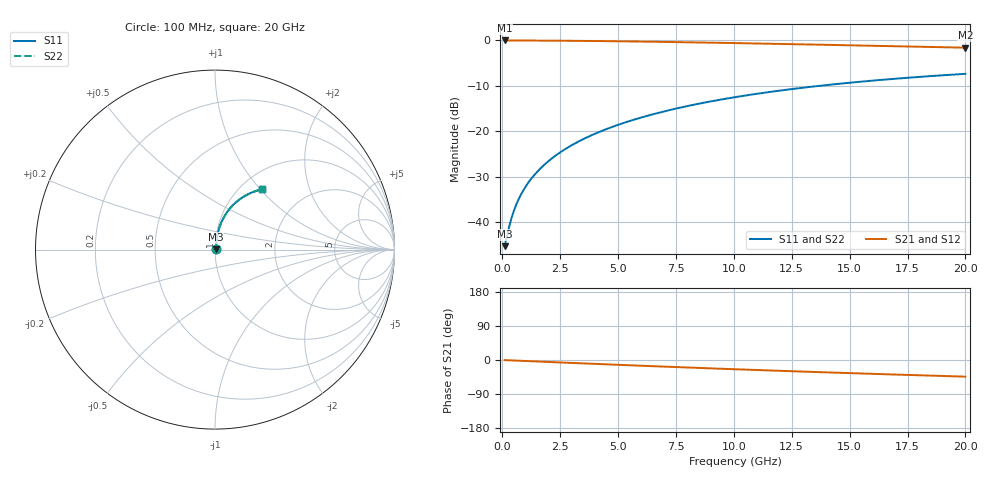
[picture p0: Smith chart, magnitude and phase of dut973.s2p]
! Touchstone file exported from HFSS 2024.1.0
!  File:  C:/UserFiles/LocalFiles/RDL_TSV_Batchsim/temp_RDL_bottom_973_1779943155.aedt
!  Generated:  12:41:56 PM May 28, 2026
!  Design:  RDL_bottom
!  Project:  temp_RDL_bottom_973_1779943155
!  Setup:  Setup1
!  Solution:  Sweep
! Variables:
!  dtsv = 10.80580581um
!  hbump = 3um
!  htsv = 87.55um
!  ldown = 590.75um
!  lrdl = 100um
!  p = 40
!  p1 = 49.2um
!  rhole = 1um
!  t = 450um
!  tdown = 2.42um
!  trdl = 3.915915916um
!  wdown = 18.61um
!  wrdl = 20um
# GHz S MA R 50.000000
! Terminal data exported
! Port[1] = RDL1_T1
! Port[2] = RDL1_T2
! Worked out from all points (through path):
!   200 points, 100 MHz to 20 GHz, reference 50 ohm
!   highest |S21| = -0.04 dB at 100 MHz (marker M1); lowest = -1.6 dB at 20 GHz (marker M2)
!   group delay of S21, straight-line fit = 6.09 ps
!   lowest |S11| = -45.2 dB at 100 MHz (marker M3), VSWR 1.01, Z = 50.5 + j0.254 ohm
!   |S11| at or under -10 dB: start of sweep to 13.72 GHz
!   |S22| runs from -45.2 to -7.4 dB; largest |S21 - S12| = 3.5e-15
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0.1  0.005474 27.3  0.9951 -0.3  0.9951 -0.3  0.005474 27.3
! Gamma 0 0 0 0
! Port Impedance 50 0 50 0
0.3  0.00904 55.4  0.9948 -0.8  0.9948 -0.8  0.00904 55.4
0.4  0.01118 61.6  0.9946 -1.1  0.9946 -1.1  0.01118 61.6
0.5  0.01338 65.7  0.9944 -1.3  0.9944 -1.3  0.01338 65.7
0.6  0.01559 68.6  0.9942 -1.6  0.9942 -1.6  0.01559 68.6
0.7  0.01781 70.7  0.994 -1.9  0.994 -1.9  0.01781 70.7
0.9  0.02227 73.7  0.9935 -2.4  0.9935 -2.4  0.02227 73.7
1.2  0.02899 76.4  0.9928 -3.2  0.9928 -3.2  0.02899 76.4
1.4  0.0335 77.6  0.9923 -3.7  0.9923 -3.7  0.0335 77.6
1.7  0.04032 78.9  0.9915 -4.4  0.9915 -4.4  0.04032 78.9
2.2  0.05179 80.0  0.9899 -5.7  0.9899 -5.7  0.05179 80.0
2.8  0.06571 80.5  0.9874 -7.3  0.9874 -7.3  0.06571 80.5
3.5  0.08213 80.4  0.984 -9.0  0.984 -9.0  0.08213 80.4
4.2  0.0987 80.0  0.98 -10.8  0.98 -10.8  0.0987 80.0
5  0.1178 79.2  0.9748 -12.7  0.9748 -12.7  0.1178 79.2
5.9  0.1393 78.0  0.9682 -14.9  0.9682 -14.9  0.1393 77.9
6.8  0.1609 76.6  0.961 -17.1  0.961 -17.1  0.1609 76.5
8.4  0.1989 73.8  0.947 -20.7  0.947 -20.7  0.1989 73.7
10.1  0.2382 70.5  0.9308 -24.5  0.9308 -24.5  0.2382 70.5
13.4  0.3098 64.1  0.8974 -31.5  0.8974 -31.5  0.3098 64.1
16.7  0.3732 57.7  0.8629 -37.9  0.8629 -37.9  0.3732 57.7
20  0.4279 51.8  0.8289 -43.9  0.8289 -43.9  0.4279 51.8
